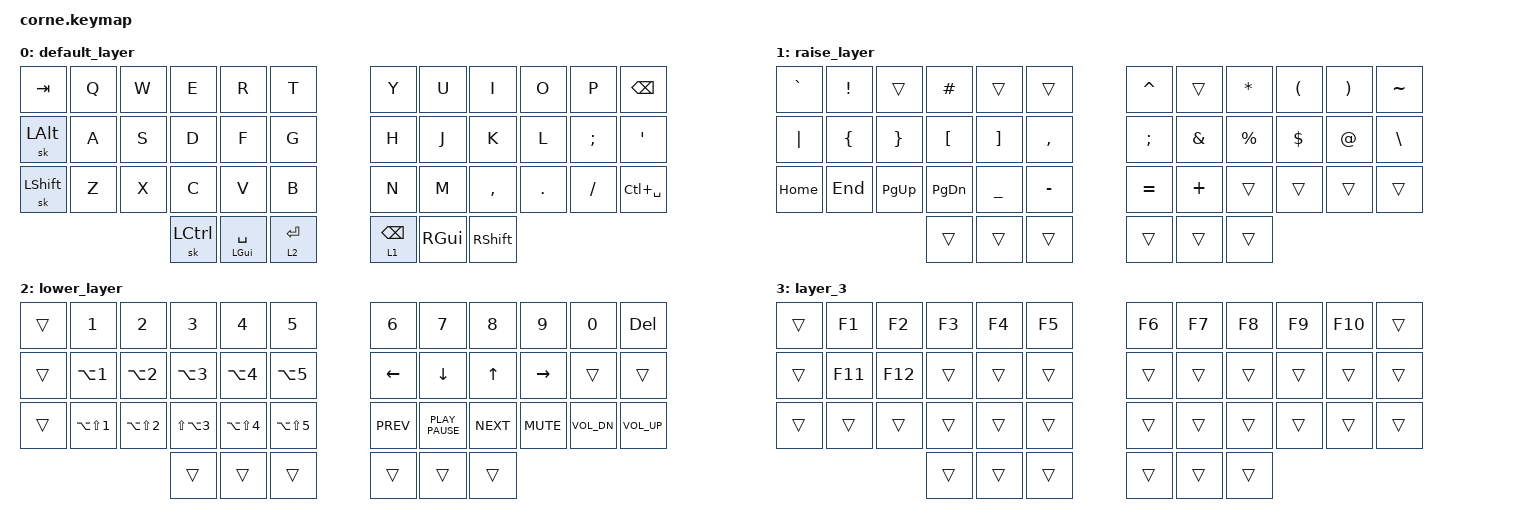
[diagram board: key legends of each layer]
/*
 * Copyright (c) 2020 The ZMK Contributors
 *
 * SPDX-License-Identifier: MIT
 */

#include <behaviors.dtsi>
#include <dt-bindings/zmk/keys.h>

/ {
    combos {
        compatible = "zmk,combos";

        two-thumbs {
            bindings = <&lt 3 LG(SPACE)>;
            key-positions = <38 39>;
            layers = <0 1 2>;
        };

        jk-esc {
            bindings = <&kp ESC>;
            key-positions = <19 20>;
        };
    };

    behaviors {
        better_ht: better_ht {
            compatible = "zmk,behavior-hold-tap";
            label = "BETTER_HT";
            bindings = <&kp>, <&kp>;

            #binding-cells = <2>;
            flavor = "balanced";
            tapping-term-ms = <280>;
            quick-tap-ms = <175>;
            require-prior-idle-ms = <150>;
            hold-trigger-on-release;
        };
    };

    keymap {
        compatible = "zmk,keymap";

        default_layer {
            // -----------------------------------------------------------------------------------------
            // |  TAB |  Q  |  W  |  E  |  R  |  T  |   |  Y  |  U   |  I  |  O  |  P  | BKSP |
            // | CTRL |  A  |  S  |  D  |  F  |  G  |   |  H  |  J   |  K  |  L  |  ;  |  '   |
            // | SHFT |  Z  |  X  |  C  |  V  |  B  |   |  N  |  M   |  ,  |  .  |  /  | ESC  |
            //                    | GUI | LWR | SPC |   | ENT | RSE  | ALT |

            bindings = <
&kp TAB         &kp Q  &kp W  &kp E             &kp R                      &kp T          &kp Y            &kp U          &kp I            &kp O    &kp P     &kp BACKSPACE
&sk LEFT_ALT    &kp A  &kp S  &kp D             &kp F                      &kp G          &kp H            &kp J          &kp K            &kp L    &kp SEMI  &kp SQT
&sk LEFT_SHIFT  &kp Z  &kp X  &kp C             &kp V                      &kp B          &kp N            &kp M          &kp COMMA        &kp DOT  &kp FSLH  &kp LC(SPACE)
                              &sk LEFT_CONTROL  &better_ht LEFT_GUI SPACE  &lt 2 ENTER    &lt 1 BACKSPACE  &kp RIGHT_GUI  &kp RIGHT_SHIFT
            >;
        };

        raise_layer {
            // -----------------------------------------------------------------------------------------
            // |  TAB |  !  |  @  |  #  |  $  |  %  |   |  ^  |  &  |  *  |  (  |  )  | BKSP |
            // | CTRL |     |     |     |     |     |   |  -  |  =  |  [  |  ]  |  \  |  `   |
            // | SHFT |     |     |     |     |     |   |  _  |  +  |  {  |  }  | "|" |  ~   |
            //                    | GUI |     | SPC |   | ENT |     | ALT |

            bindings = <
&kp GRAVE  &kp EXCL        &trans           &kp HASH          &trans             &trans       &kp CARET      &trans         &kp ASTRK    &kp LEFT_PARENTHESIS  &kp RIGHT_PARENTHESIS  &kp TILDE
&kp PIPE   &kp LEFT_BRACE  &kp RIGHT_BRACE  &kp LEFT_BRACKET  &kp RIGHT_BRACKET  &kp COMMA    &kp SEMICOLON  &kp AMPERSAND  &kp PERCENT  &kp DOLLAR            &kp AT_SIGN            &kp BACKSLASH
&kp HOME   &kp END         &kp PG_UP        &kp PAGE_DOWN     &kp UNDER          &kp MINUS    &kp EQUAL      &kp PLUS       &trans       &trans                &trans                 &trans
                                            &trans            &trans             &trans       &trans         &trans         &trans
            >;
        };

        lower_layer {
            // -----------------------------------------------------------------------------------------
            // |  TAB |  1  |  2  |  3  |  4  |  5  |   |  6  |  7  |  8  |  9  |  0  | BKSP |
            // | BTCLR| BT1 | BT2 | BT3 | BT4 | BT5 |   | LFT | DWN |  UP | RGT |     |      |
            // | SHFT |     |     |     |     |     |   |     |     |     |     |     |      |
            //                    | GUI |     | SPC |   | ENT |     | ALT |

            bindings = <
&trans  &kp N1          &kp N2          &kp N3          &kp N4          &kp N5            &kp N6      &kp N7            &kp N8      &kp N9      &kp N0        &kp DELETE
&trans  &kp LA(N1)      &kp LA(N2)      &kp LA(N3)      &kp LA(N4)      &kp LA(N5)        &kp LEFT    &kp DOWN          &kp UP      &kp RIGHT   &trans        &trans
&trans  &kp LA(LS(N1))  &kp LA(LS(N2))  &kp LS(LA(N3))  &kp LA(LS(N4))  &kp LA(LS(N5))    &kp K_PREV  &kp K_PLAY_PAUSE  &kp K_NEXT  &kp K_MUTE  &kp C_VOL_DN  &kp C_VOL_UP
                                        &trans          &trans          &trans            &trans      &trans            &trans
            >;
        };

        layer_3 {
            bindings = <
&trans  &kp F1   &kp F2   &kp F3  &kp F4  &kp F5    &kp F6  &kp F7  &kp F8  &kp F9  &kp F10  &trans
&trans  &kp F11  &kp F12  &trans  &trans  &trans    &trans  &trans  &trans  &trans  &trans   &trans
&trans  &trans   &trans   &trans  &trans  &trans    &trans  &trans  &trans  &trans  &trans   &trans
                          &trans  &trans  &trans    &trans  &trans  &trans
            >;
        };
    };
};
